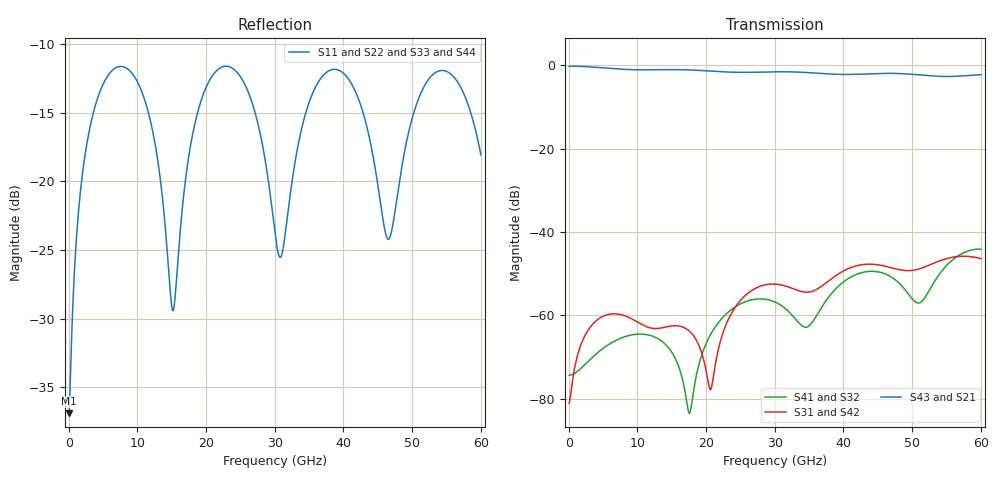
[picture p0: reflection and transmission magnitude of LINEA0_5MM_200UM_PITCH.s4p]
! TOUCHSTONE file generated by CST MICROWAVE STUDIO
! Date and time: Thu Oct 15 09:16:29 2026
! Project name: LINEA0_5MM_200UM_PITCH.cst
! Parameters = {CHANNEL_PITCH=0.2; GAP=0.00415; L=5; L1=0.02; L2=0.086; L3=0.066; NCELL=1; PITCH=0.18; START_POSITION=0.08; W1=0.003; W2=0.004; W3=0.009; WG=0.04985; gap_oxr=0.00125; linbo3_thickness=0.0002; mtx=0.002; oxiDinE=0.0014; w=0.15; ws=0.035}
! Header version: 2024
! Port assignment regex: !\s*Touchstone port\s*([0-9]+)\s*=\s*(CST MWS port|CST DES external port|CST DES block port)\s*(.+)\s* \(\"(.*)\"\)(\s*mode\s*([0-9]+))?.*
! Touchstone port assignment:
! Touchstone port 1 = CST MWS port 1 ("")
! Touchstone port 2 = CST MWS port 2 ("")
! Touchstone port 3 = CST MWS port 3 ("")
! Touchstone port 4 = CST MWS port 4 ("")
# GHz S MA R 50
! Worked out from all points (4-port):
!   1000 points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, 60 MHz to 60 GHz, reference 50 ohm
!   strongest paths, dB at 60 MHz, 15.06 GHz, 30.06 GHz, 45.06 GHz, 60 GHz:
!     S43: -0.2, -1.0, -1.5, -1.9, -2.2
!     S21: -0.2, -1.0, -1.5, -2.0, -2.2
!     S31: -81.1, -62.5, -52.5, -47.9, -46.4
!     S42: -81.1, -62.5, -52.5, -47.9, -46.4
!     S41: -74.4, -69.0, -56.8, -49.6, -44.1
!     S32: -74.4, -69.0, -56.8, -49.6, -44.1
!   lowest |S11| = -36.9 dB at 60 MHz (marker M1), VSWR 1.03, Z = 51.4 - j0.352 ohm
!   |S11| at or under -10 dB: start of sweep to end of sweep
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0.06  0.01428 -13.9  0.9786 -0.8  8.818e-05 9.2  0.0001907 177.2
      0.9786 -0.8  0.01428 -13.9  0.0001907 177.2  8.818e-05 9.2
      8.81e-05 9.2  0.0001911 177.2  0.01426 -13.9  0.9786 -0.8
      0.0001911 177.2  8.81e-05 9.2  0.9786 -0.8  0.01426 -13.9
6.36  0.2541 -159.1  0.9156 -78.5  0.001042 10.0  0.0004751 -40.3
      0.9156 -78.5  0.2541 -159.1  0.0004751 -40.3  0.001042 10.0
      0.001042 10.0  0.0004755 -40.3  0.2544 -159.1  0.9156 -78.4
      0.0004755 -40.3  0.001042 10.0  0.9156 -78.4  0.2544 -159.1
15.06  0.0343 176.1  0.8898 -178.9  0.0007479 -18.1  0.0003559 117.3
       0.8898 -178.9  0.0343 176.1  0.0003559 117.3  0.0007479 -18.1
       0.000748 -18.1  0.0003557 117.3  0.03434 175.7  0.89 -178.8
       0.0003557 117.3  0.000748 -18.1  0.89 -178.8  0.03434 175.7
20.64  0.2368 -152.7  0.8547 114.4  0.0001281 -161.3  0.0005861 157.1
       0.8547 114.4  0.2368 -152.7  0.0005861 157.1  0.0001281 -161.3
       0.0001282 -161.3  0.0005866 157.1  0.2369 -152.7  0.8549 114.5
       0.0005866 157.1  0.0001281 -161.3  0.8549 114.5  0.2369 -152.7
29.76  0.07371 149.3  0.8365 10.7  0.002379 -32.6  0.001477 -27.0
       0.8365 10.7  0.07371 149.3  0.001477 -27.0  0.002379 -32.6
       0.002379 -32.6  0.001477 -27.0  0.07404 149.0  0.8369 10.8
       0.001477 -27.0  0.002379 -32.6  0.8369 10.8  0.07404 149.0
46.14  0.06448 168.6  0.8018 -179.0  0.00388 -80.7  0.003133 132.6
       0.8018 -179.0  0.06448 168.6  0.003133 132.6  0.00388 -80.7
       0.003881 -80.7  0.003132 132.6  0.06456 168.2  0.8024 -178.9
       0.003132 132.6  0.003881 -80.7  0.8024 -178.9  0.06456 168.2
60  0.125 146.1  0.7726 22.2  0.004802 -67.7  0.006239 -26.9
    0.7726 22.2  0.125 146.1  0.006239 -26.9  0.004802 -67.7
    0.004801 -67.7  0.006236 -26.9  0.1256 146.0  0.7733 22.3
    0.006236 -26.9  0.004801 -67.7  0.7733 22.3  0.1256 146.0
